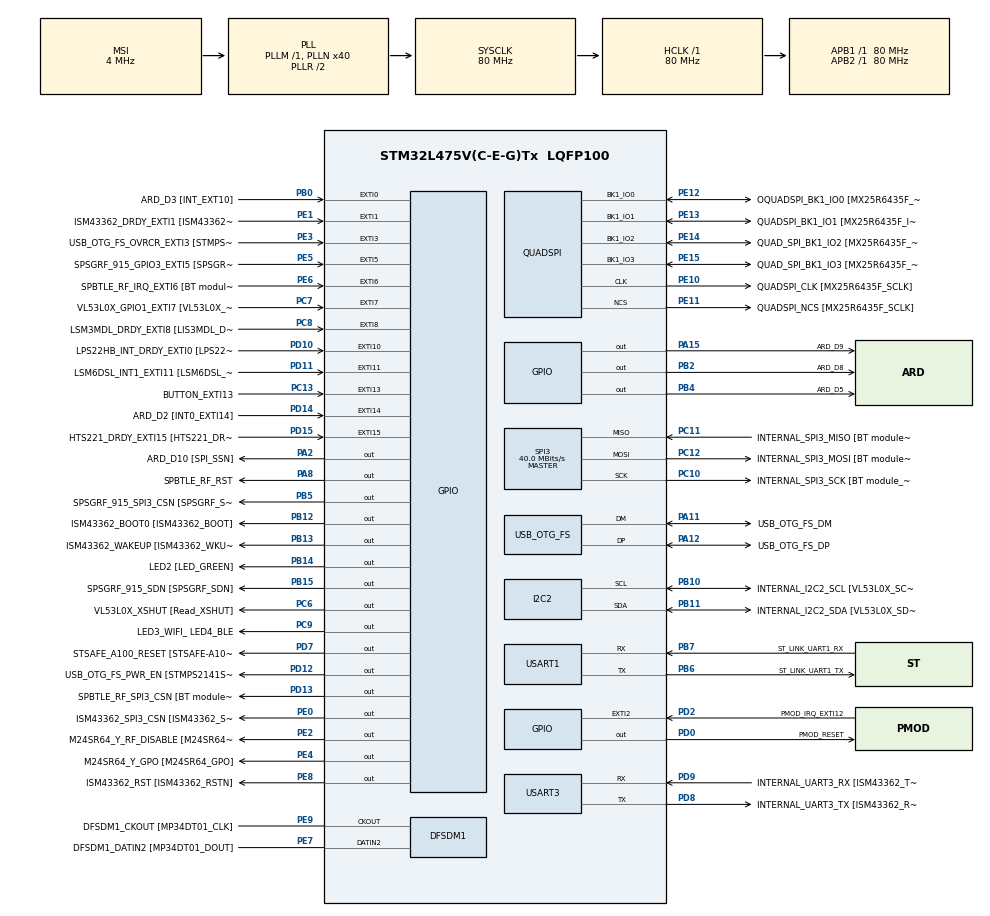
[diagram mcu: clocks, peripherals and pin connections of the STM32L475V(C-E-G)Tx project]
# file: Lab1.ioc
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FREERTOS.BinarySemaphores01=myBinarySem01,Dynamic,NULL,Available;myBinarySem02,Dynamic,NULL,Available
FREERTOS.Mutexes01=myMutex01,Dynamic,NULL,Available
FREERTOS.Tasks01=defaultTask,24,128,StartDefaultTask,Default,NULL,Dynamic,NULL,NULL;myTask02,40,128,StartTask02,Default,NULL,Dynamic,NULL,NULL
I2C2.Timing=0x10D19CE4
Mcu.Family=STM32L4
Mcu.Name=STM32L475V(C-E-G)Tx
Mcu.Package=LQFP100
NVIC.EXTI15_10_IRQn=true\:5\:0\:false\:false\:true\:true\:true\:true\:true
NVIC.EXTI9_5_IRQn=true\:5\:0\:false\:false\:true\:true\:true\:true\:true
NVIC.PriorityGroup=NVIC_PRIORITYGROUP_4
NVIC.TIM6_DAC_IRQn=true\:5\:0\:false\:false\:true\:true\:true\:true\:true
PA0.GPIO_Label=ARD_D1 [UART4_TX]
PA0.Signal=UART4_TX
PA1.GPIO_Label=ARD_D0 [UART4_RX]
PA1.Signal=UART4_RX
PA10.GPIO_Label=USB_OTG_FS_ID
PA10.Signal=USB_OTG_FS_ID
PA11.GPIO_Label=USB_OTG_FS_DM
PA11.Mode=Device_Only
PA11.Signal=USB_OTG_FS_DM
PA12.GPIO_Label=USB_OTG_FS_DP
PA12.Mode=Device_Only
PA12.Signal=USB_OTG_FS_DP
PA13\ (JTMS-SWDIO).GPIO_Label=SYS_JTMS_SWDIO
PA13\ (JTMS-SWDIO).Mode=Serial_Wire
PA13\ (JTMS-SWDIO).Signal=SYS_JTMS-SWDIO
PA14\ (JTCK-SWCLK).GPIO_Label=SYS_JTCK_SWCLK
PA14\ (JTCK-SWCLK).Mode=Serial_Wire
PA14\ (JTCK-SWCLK).Signal=SYS_JTCK-SWCLK
PA15\ (JTDI).GPIO_Label=ARD_D9
PA15\ (JTDI).Signal=GPIO_Output
PA2.GPIO_Label=ARD_D10 [SPI_SSN]
PA2.Signal=GPIO_Output
PA3.GPIO_Label=ARD_D4
PA3.Signal=S_TIM2_CH4
PA4.GPIO_Label=ARD_D7
PA4.Signal=ADCx_IN9
PA5.GPIO_Label=ARD_D13 [SPI1_SCK]
PA5.Signal=SPI1_SCK
PA6.GPIO_Label=ARD_D12 [SPI1_MISO]
PA6.Signal=SPI1_MISO
PA7.GPIO_Label=ARD_D11 [SPI1_MOSI]
PA7.Signal=SPI1_MOSI
PA8.GPIO_Label=SPBTLE_RF_RST
PA8.Signal=GPIO_Output
PA9.GPIO_Label=USB_OTG_FS_VBUS [STMPS2141STR_OUT]
PA9.Signal=USB_OTG_FS_VBUS
PB0.GPIO_Label=ARD_D3 [INT_EXT10]
PB0.Signal=GPXTI0
PB1.GPIO_Label=ARD_D6 [ADC1_IN6]
PB1.Signal=ADCx_IN16
PB10.GPIO_Label=INTERNAL_I2C2_SCL [VL53L0X_SCL]
PB10.GPIO_Pu=GPIO_PULLUP
PB10.Mode=I2C
PB10.Signal=I2C2_SCL
PB11.GPIO_Label=INTERNAL_I2C2_SDA [VL53L0X_SDA]
PB11.GPIO_Pu=GPIO_PULLUP
PB11.Mode=I2C
PB11.Signal=I2C2_SDA
PB12.GPIO_Label=ISM43362_BOOT0 [ISM43362_BOOT]
PB12.Signal=GPIO_Output
PB13.GPIO_Label=ISM43362_WAKEUP [ISM43362_WKUP]
PB13.Signal=GPIO_Output
PB14.GPIO_Label=LED2 [LED_GREEN]
PB14.Signal=GPIO_Output
PB15.GPIO_Label=SPSGRF_915_SDN [SPSGRF_SDN]
PB15.Signal=GPIO_Output
PB2.GPIO_Label=ARD_D8
PB2.Signal=GPIO_Output
PB3\ (JTDO-TRACESWO).GPIO_Label=SYS_JTD0_SWO
PB3\ (JTDO-TRACESWO).Signal=SYS_JTDO-SWO
PB4\ (NJTRST).GPIO_Label=ARD_D5
PB4\ (NJTRST).Signal=GPIO_Output
PB5.GPIO_Label=SPSGRF_915_SPI3_CSN [SPSGRF_SPI_CS]
PB5.PinState=GPIO_PIN_SET
PB5.Signal=GPIO_Output
PB6.GPIO_Label=ST_LINK_UART1_TX
PB6.Mode=Asynchronous
PB6.Signal=USART1_TX
PB7.GPIO_Label=ST_LINK_UART1_RX
PB7.Mode=Asynchronous
PB7.Signal=USART1_RX
PB8.GPIO_Label=ARD_D15 [I2C1_SCL]
PB8.Signal=I2C1_SCL
PB9.GPIO_Label=ARD_D14 [I2C1_SDA]
PB9.Signal=I2C1_SDA
PC0.GPIO_Label=ARD_A5 [ADC]
PC0.Signal=ADCx_IN1
PC1.GPIO_Label=ARD_A4 [ADC]
PC1.Signal=ADCx_IN2
PC10.GPIO_Label=INTERNAL_SPI3_SCK [BT module_SPI_SCLK] [ISM43362_SCK]
PC10.Mode=Full_Duplex_Master
PC10.Signal=SPI3_SCK
PC11.GPIO_Label=INTERNAL_SPI3_MISO [BT module_SPI_MISO] [ISM43362_MISO]
PC11.Mode=Full_Duplex_Master
PC11.Signal=SPI3_MISO
PC12.GPIO_Label=INTERNAL_SPI3_MOSI [BT module_SPI_MOSI] [ISM43362_MOSI]
PC12.Mode=Full_Duplex_Master
PC12.Signal=SPI3_MOSI
PC13.GPIO_Label=BUTTON_EXTI13
PC13.GPIO_ModeDefaultEXTI=GPIO_MODE_IT_FALLING
PC13.GPIO_PuPd=GPIO_PULLUP
PC13.Signal=GPXTI13
PC14-OSC32_IN\ (PC14).Mode=LSE-External-Oscillator
PC14-OSC32_IN\ (PC14).Signal=RCC_OSC32_IN
PC15-OSC32_OUT\ (PC15).Mode=LSE-External-Oscillator
PC15-OSC32_OUT\ (PC15).Signal=RCC_OSC32_OUT
PC2.GPIO_Label=ARD_A3 [ADC]
PC2.Signal=ADCx_IN3
PC3.GPIO_Label=ARD_A2 [ADC]
PC3.Signal=ADCx_IN4
PC4.GPIO_Label=ARD_A1 [ADC]
PC4.Signal=ADCx_IN13
PC5.GPIO_Label=ARD_A0 [ADC]
PC5.Signal=ADCx_IN14
PC6.GPIO_Label=VL53L0X_XSHUT [Read_XSHUT]
PC6.Signal=GPIO_Output
PC7.GPIO_Label=VL53L0X_GPIO1_EXTI7 [VL53L0X_GPIO1]
PC7.Signal=GPXTI7
PC8.GPIO_Label=LSM3MDL_DRDY_EXTI8 [LIS3MDL_DRDY]
PC8.Signal=GPXTI8
PC9.GPIO_Label=LED3_WIFI_ LED4_BLE
PC9.Signal=GPIO_Output
PD0.GPIO_Label=PMOD_RESET
PD0.Signal=GPIO_Output
PD1.GPIO_Label=PMOD_SPI2_SCK
PD1.Signal=SPI2_SCK
PD10.GPIO_Label=LPS22HB_INT_DRDY_EXTI0 [LPS22HB_INT_DRDY] 
PD10.Signal=GPXTI10
PD11.GPIO_Label=LSM6DSL_INT1_EXTI11 [LSM6DSL_INT1]
PD11.Signal=GPXTI11
PD12.GPIO_Label=USB_OTG_FS_PWR_EN [STMPS2141STR_EN]
PD12.Signal=GPIO_Output
PD13.GPIO_Label=SPBTLE_RF_SPI3_CSN [BT module_SPI_CS]
PD13.PinState=GPIO_PIN_SET
PD13.Signal=GPIO_Output
PD14.GPIO_Label=ARD_D2 [INT0_EXTI14]
PD14.Signal=GPXTI14
PD15.GPIO_Label=HTS221_DRDY_EXTI15 [HTS221_DRDY]
PD15.Signal=GPXTI15
PD2.GPIO_Label=PMOD_IRQ_EXTI12
PD2.Signal=GPXTI2
PD3.GPIO_Label=PMOD_UART2_CTS
PD3.Signal=USART2_CTS
PD4.GPIO_Label=PMOD_UART2_RTS
PD4.Signal=USART2_RTS
PD5.GPIO_Label=PMOD_UART2_TX
PD5.Signal=USART2_TX
PD6.GPIO_Label=PMOD_UART2_RX
PD6.Signal=USART2_RX
PD7.GPIO_Label=STSAFE_A100_RESET [STSAFE-A100_RESET]
PD7.Signal=GPIO_Output
PD8.GPIO_Label=INTERNAL_UART3_TX [ISM43362_RX]
PD8.Mode=Asynchronous
PD8.Signal=USART3_TX
PD9.GPIO_Label=INTERNAL_UART3_RX [ISM43362_TX]
PD9.Mode=Asynchronous
PD9.Signal=USART3_RX
PE0.GPIO_Label=ISM43362_SPI3_CSN [ISM43362_SSN]
PE0.PinState=GPIO_PIN_SET
PE0.Signal=GPIO_Output
PE1.GPIO_Label=ISM43362_DRDY_EXTI1 [ISM43362_DATARDY]
PE1.Signal=GPXTI1
PE10.GPIO_Label=QUADSPI_CLK [MX25R6435F_SCLK]
PE10.Mode=Single Bank
PE10.Signal=QUADSPI_CLK
PE11.GPIO_Label=QUADSPI_NCS [MX25R6435F_SCLK]
PE11.Mode=Single Bank
PE11.Signal=QUADSPI_NCS
PE12.GPIO_Label=OQUADSPI_BK1_IO0 [MX25R6435F_IO0]
PE12.Mode=Single Bank
PE12.Signal=QUADSPI_BK1_IO0
PE13.GPIO_Label=QUADSPI_BK1_IO1 [MX25R6435F_IO1]
PE13.Mode=Single Bank
PE13.Signal=QUADSPI_BK1_IO1
PE14.GPIO_Label=QUAD_SPI_BK1_IO2 [MX25R6435F_IO2]
PE14.Mode=Single Bank
PE14.Signal=QUADSPI_BK1_IO2
PE15.GPIO_Label=QUAD_SPI_BK1_IO3 [MX25R6435F_IO3]
PE15.Mode=Single Bank
PE15.Signal=QUADSPI_BK1_IO3
PE2.GPIO_Label=M24SR64_Y_RF_DISABLE [M24SR64_RFDIS]
PE2.Signal=GPIO_Output
PE3.GPIO_Label=USB_OTG_FS_OVRCR_EXTI3 [STMPS2141STR_FAULT]
PE3.Signal=GPXTI3
PE4.GPIO_Label=M24SR64_Y_GPO [M24SR64_GPO]
PE4.Signal=GPIO_Output
PE5.GPIO_Label=SPSGRF_915_GPIO3_EXTI5 [SPSGRF_GPIO_3]
PE5.Signal=GPXTI5
PE6.GPIO_Label=SPBTLE_RF_IRQ_EXTI6 [BT module_SPI_IRQ]
PE6.Signal=GPXTI6
PE7.GPIO_Label=DFSDM1_DATIN2 [MP34DT01_DOUT]
PE7.Signal=S_DATAIN2DFSDM1
PE8.GPIO_Label=ISM43362_RST [ISM43362_RSTN]
PE8.Signal=GPIO_Output
PE9.GPIO_Label=DFSDM1_CKOUT [MP34DT01_CLK]
PE9.Signal=S_CKOUTDFSDM1
ProjectManager.HeapSize=0x200
ProjectManager.StackSize=0x400
ProjectManager.TargetToolchain=STM32CubeIDE
QUADSPI.ClockPrescaler=2
QUADSPI.FifoThreshold=4
QUADSPI.FlashSize=23
QUADSPI.SampleShifting=QSPI_SAMPLE_SHIFTING_HALFCYCLE
RCC.ADCFreq_Value=48000000
RCC.AHBFreq_Value=80000000
RCC.APB1Freq_Value=80000000
RCC.APB1TimFreq_Value=80000000
RCC.APB2Freq_Value=80000000
RCC.APB2TimFreq_Value=80000000
RCC.CortexFreq_Value=80000000
RCC.HCLKFreq_Value=80000000
RCC.HSE_VALUE=8000000
RCC.HSI_VALUE=16000000
RCC.MSI_VALUE=4000000
RCC.PLLN=40
RCC.PLLSAI1N=24
RCC.SYSCLKFreq_VALUE=80000000
RCC.SYSCLKSource=RCC_SYSCLKSOURCE_PLLCLK
RCC.USBFreq_Value=48000000
RCC.VCOOutputFreq_Value=160000000
SH.ADCx_IN1.0=ADC1_IN1
SH.ADCx_IN13.0=ADC1_IN13
SH.ADCx_IN14.0=ADC1_IN14
SH.ADCx_IN16.0=ADC1_IN16
SH.ADCx_IN2.0=ADC1_IN2
SH.ADCx_IN3.0=ADC1_IN3
SH.ADCx_IN4.0=ADC1_IN4
SH.ADCx_IN9.0=ADC1_IN9
SH.S_CKOUTDFSDM1.0=DFSDM1_CKOUT,CKOUT
SH.S_CKOUTDFSDM1.1=DFSDM1_CKOUT,PDM_SPI_Input_from_ch12_and_Internal_Clock
SH.S_DATAIN2DFSDM1.0=DFSDM1_DATIN2,PDM_SPI_Input_from_ch12_and_Internal_Clock
SH.S_TIM2_CH4.0=TIM2_CH4
SPI3.CalculateBaudRate=40.0 MBits/s
SPI3.Direction=SPI_DIRECTION_2LINES
SPI3.Mode=SPI_MODE_MASTER
SPI3.VirtualType=VM_MASTER
TIM6.AutoReloadPreload=TIM_AUTORELOAD_PRELOAD_ENABLE
TIM6.Period=39999
TIM6.Prescaler=19999
USART1.VirtualMode-Asynchronous=VM_ASYNC
USART3.VirtualMode-Asynchronous=VM_ASYNC
USB_OTG_FS.VirtualMode=Device_Only
VP_FREERTOS_VS_CMSIS_V2.Mode=CMSIS_V2
VP_TIM6_VS_ClockSourceINT.Mode=Enable_Timer
board=B-L475E-IOT01A1

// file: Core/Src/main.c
/* USER CODE BEGIN Header */
/**
  ******************************************************************************
  * @file           : main.c
  * @brief          : Main program body
  ******************************************************************************
  * @attention
  *
  * Copyright (c) 2024 STMicroelectronics.
  * All rights reserved.
  *
  * This software is licensed under terms that can be found in the LICENSE file
  * in the root directory of this software component.
  * If no LICENSE file comes with this software, it is provided AS-IS.
  *
  ******************************************************************************
  */
/* USER CODE END Header */
#include "main.h"
#include "cmsis_os.h"
#include "stdio.h"
#include "string.h"

DFSDM_Channel_HandleTypeDef hdfsdm1_channel1;

I2C_HandleTypeDef hi2c2;

QSPI_HandleTypeDef hqspi;

SPI_HandleTypeDef hspi3;

TIM_HandleTypeDef htim6;

UART_HandleTypeDef huart1;
UART_HandleTypeDef huart3;

PCD_HandleTypeDef hpcd_USB_OTG_FS;

/* Definitions for defaultTask */
osThreadId_t defaultTaskHandle;
const osThreadAttr_t defaultTask_attributes = {
  .name = "defaultTask",
  .stack_size = 128 * 4,
  .priority = (osPriority_t) osPriorityNormal,
};
/* Definitions for myTask02 */
osThreadId_t myTask02Handle;
const osThreadAttr_t myTask02_attributes = {
  .name = "myTask02",
  .stack_size = 128 * 4,
  .priority = (osPriority_t) osPriorityHigh,
};
/* Definitions for myMutex01 */
osMutexId_t myMutex01Handle;
const osMutexAttr_t myMutex01_attributes = {
  .name = "myMutex01"
};
/* Definitions for myBinarySem01 */
osSemaphoreId_t myBinarySem01Handle;
const osSemaphoreAttr_t myBinarySem01_attributes = {
  .name = "myBinarySem01"
};
/* Definitions for myBinarySem02 */
osSemaphoreId_t myBinarySem02Handle;
const osSemaphoreAttr_t myBinarySem02_attributes = {
  .name = "myBinarySem02"
};

void SystemClock_Config(void);
static void MX_GPIO_Init(void);
static void MX_DFSDM1_Init(void);
static void MX_I2C2_Init(void);
static void MX_QUADSPI_Init(void);
static void MX_SPI3_Init(void);
static void MX_USART1_UART_Init(void);
static void MX_USART3_UART_Init(void);
static void MX_USB_OTG_FS_PCD_Init(void);
static void MX_TIM6_Init(void);
void StartDefaultTask(void *argument);
void StartTask02(void *argument);

int main(void)
{

  /* MCU Configuration--------------------------------------------------------*/

  /* Reset of all peripherals, Initializes the Flash interface and the Systick. */
  HAL_Init();

  /* Configure the system clock */
  SystemClock_Config();

  /* Initialize all configured peripherals */
  MX_GPIO_Init();
  MX_DFSDM1_Init();
  MX_I2C2_Init();
  MX_QUADSPI_Init();
  MX_SPI3_Init();
  MX_USART1_UART_Init();
  MX_USART3_UART_Init();
  MX_USB_OTG_FS_PCD_Init();
  MX_TIM6_Init();

  /* Init scheduler */
  osKernelInitialize();
  /* Create the mutex(es) */
  /* creation of myMutex01 */
  myMutex01Handle = osMutexNew(&myMutex01_attributes);

  /* Create the semaphores(s) */
  /* creation of myBinarySem01 */
  myBinarySem01Handle = osSemaphoreNew(1, 0, &myBinarySem01_attributes);

  /* creation of myBinarySem02 */
  myBinarySem02Handle = osSemaphoreNew(1, 0, &myBinarySem02_attributes);

  /* USER CODE BEGIN RTOS_SEMAPHORES */
  /* add semaphores, ... */
//  xBlinkingMutex = xSemaphoreCreateMutex();
//  xButtonSemaphore = xSemaphoreCreateBinary();
//  xTimerSemaphore = xSemaphoreCreateBinary();
  /* USER CODE END RTOS_SEMAPHORES */

  /* Create the thread(s) */
  /* creation of defaultTask */
  defaultTaskHandle = osThreadNew(StartDefaultTask, NULL, &defaultTask_attributes);

  /* creation of myTask02 */
  myTask02Handle = osThreadNew(StartTask02, NULL, &myTask02_attributes);

  /* Start scheduler */
  osKernelStart();

  /* We should never get here as control is now taken by the scheduler */

  /* Infinite loop */
  while (1)
  {

  }
}

void SystemClock_Config(void)
{
  RCC_OscInitTypeDef RCC_OscInitStruct = {0};
  RCC_ClkInitTypeDef RCC_ClkInitStruct = {0};

  /** Configure the main internal regulator output voltage
  */
  if (HAL_PWREx_ControlVoltageScaling(PWR_REGULATOR_VOLTAGE_SCALE1) != HAL_OK)
  {
    Error_Handler();
  }

  /** Configure LSE Drive Capability
  */
  HAL_PWR_EnableBkUpAccess();
  __HAL_RCC_LSEDRIVE_CONFIG(RCC_LSEDRIVE_LOW);

  /** Initializes the RCC Oscillators according to the specified parameters
  * in the RCC_OscInitTypeDef structure.
  */
  RCC_OscInitStruct.OscillatorType = RCC_OSCILLATORTYPE_LSE|RCC_OSCILLATORTYPE_MSI;
  RCC_OscInitStruct.LSEState = RCC_LSE_ON;
  RCC_OscInitStruct.MSIState = RCC_MSI_ON;
  RCC_OscInitStruct.MSICalibrationValue = 0;
  RCC_OscInitStruct.MSIClockRange = RCC_MSIRANGE_6;
  RCC_OscInitStruct.PLL.PLLState = RCC_PLL_ON;
  RCC_OscInitStruct.PLL.PLLSource = RCC_PLLSOURCE_MSI;
  RCC_OscInitStruct.PLL.PLLM = 1;
  RCC_OscInitStruct.PLL.PLLN = 40;
  RCC_OscInitStruct.PLL.PLLP = RCC_PLLP_DIV7;
  RCC_OscInitStruct.PLL.PLLQ = RCC_PLLQ_DIV2;
  RCC_OscInitStruct.PLL.PLLR = RCC_PLLR_DIV2;
  if (HAL_RCC_OscConfig(&RCC_OscInitStruct) != HAL_OK)
  {
    Error_Handler();
  }

  /** Initializes the CPU, AHB and APB buses clocks
  */
  RCC_ClkInitStruct.ClockType = RCC_CLOCKTYPE_HCLK|RCC_CLOCKTYPE_SYSCLK
                              |RCC_CLOCKTYPE_PCLK1|RCC_CLOCKTYPE_PCLK2;
  RCC_ClkInitStruct.SYSCLKSource = RCC_SYSCLKSOURCE_PLLCLK;
  RCC_ClkInitStruct.AHBCLKDivider = RCC_SYSCLK_DIV1;
  RCC_ClkInitStruct.APB1CLKDivider = RCC_HCLK_DIV1;
  RCC_ClkInitStruct.APB2CLKDivider = RCC_HCLK_DIV1;

  if (HAL_RCC_ClockConfig(&RCC_ClkInitStruct, FLASH_LATENCY_4) != HAL_OK)
  {
    Error_Handler();
  }

  /** Enable MSI Auto calibration
  */
  HAL_RCCEx_EnableMSIPLLMode();
}

static void MX_DFSDM1_Init(void)
{

  hdfsdm1_channel1.Instance = DFSDM1_Channel1;
  hdfsdm1_channel1.Init.OutputClock.Activation = ENABLE;
  hdfsdm1_channel1.Init.OutputClock.Selection = DFSDM_CHANNEL_OUTPUT_CLOCK_SYSTEM;
  hdfsdm1_channel1.Init.OutputClock.Divider = 2;
  hdfsdm1_channel1.Init.Input.Multiplexer = DFSDM_CHANNEL_EXTERNAL_INPUTS;
  hdfsdm1_channel1.Init.Input.DataPacking = DFSDM_CHANNEL_STANDARD_MODE;
  hdfsdm1_channel1.Init.Input.Pins = DFSDM_CHANNEL_FOLLOWING_CHANNEL_PINS;
  hdfsdm1_channel1.Init.SerialInterface.Type = DFSDM_CHANNEL_SPI_RISING;
  hdfsdm1_channel1.Init.SerialInterface.SpiClock = DFSDM_CHANNEL_SPI_CLOCK_INTERNAL;
  hdfsdm1_channel1.Init.Awd.FilterOrder = DFSDM_CHANNEL_FASTSINC_ORDER;
  hdfsdm1_channel1.Init.Awd.Oversampling = 1;
  hdfsdm1_channel1.Init.Offset = 0;
  hdfsdm1_channel1.Init.RightBitShift = 0x00;
  if (HAL_DFSDM_ChannelInit(&hdfsdm1_channel1) != HAL_OK)
  {
    Error_Handler();
  }

}

static void MX_I2C2_Init(void)
{

  hi2c2.Instance = I2C2;
  hi2c2.Init.Timing = 0x10D19CE4;
  hi2c2.Init.OwnAddress1 = 0;
  hi2c2.Init.AddressingMode = I2C_ADDRESSINGMODE_7BIT;
  hi2c2.Init.DualAddressMode = I2C_DUALADDRESS_DISABLE;
  hi2c2.Init.OwnAddress2 = 0;
  hi2c2.Init.OwnAddress2Masks = I2C_OA2_NOMASK;
  hi2c2.Init.GeneralCallMode = I2C_GENERALCALL_DISABLE;
  hi2c2.Init.NoStretchMode = I2C_NOSTRETCH_DISABLE;
  if (HAL_I2C_Init(&hi2c2) != HAL_OK)
  {
    Error_Handler();
  }

  /** Configure Analogue filter
  */
  if (HAL_I2CEx_ConfigAnalogFilter(&hi2c2, I2C_ANALOGFILTER_ENABLE) != HAL_OK)
  {
    Error_Handler();
  }

  /** Configure Digital filter
  */
  if (HAL_I2CEx_ConfigDigitalFilter(&hi2c2, 0) != HAL_OK)
  {
    Error_Handler();
  }

}

static void MX_QUADSPI_Init(void)
{

  /* QUADSPI parameter configuration*/
  hqspi.Instance = QUADSPI;
  hqspi.Init.ClockPrescaler = 2;
  hqspi.Init.FifoThreshold = 4;
  hqspi.Init.SampleShifting = QSPI_SAMPLE_SHIFTING_HALFCYCLE;
  hqspi.Init.FlashSize = 23;
  hqspi.Init.ChipSelectHighTime = QSPI_CS_HIGH_TIME_1_CYCLE;
  hqspi.Init.ClockMode = QSPI_CLOCK_MODE_0;
  if (HAL_QSPI_Init(&hqspi) != HAL_OK)
  {
    Error_Handler();
  }

}

static void MX_SPI3_Init(void)
{

  /* SPI3 parameter configuration*/
  hspi3.Instance = SPI3;
  hspi3.Init.Mode = SPI_MODE_MASTER;
  hspi3.Init.Direction = SPI_DIRECTION_2LINES;
  hspi3.Init.DataSize = SPI_DATASIZE_4BIT;
  hspi3.Init.CLKPolarity = SPI_POLARITY_LOW;
  hspi3.Init.CLKPhase = SPI_PHASE_1EDGE;
  hspi3.Init.NSS = SPI_NSS_SOFT;
  hspi3.Init.BaudRatePrescaler = SPI_BAUDRATEPRESCALER_2;
  hspi3.Init.FirstBit = SPI_FIRSTBIT_MSB;
  hspi3.Init.TIMode = SPI_TIMODE_DISABLE;
  hspi3.Init.CRCCalculation = SPI_CRCCALCULATION_DISABLE;
  hspi3.Init.CRCPolynomial = 7;
  hspi3.Init.CRCLength = SPI_CRC_LENGTH_DATASIZE;
  hspi3.Init.NSSPMode = SPI_NSS_PULSE_ENABLE;
  if (HAL_SPI_Init(&hspi3) != HAL_OK)
  {
    Error_Handler();
  }

}

static void MX_TIM6_Init(void)
{

  TIM_MasterConfigTypeDef sMasterConfig = {0};

  htim6.Instance = TIM6;
  htim6.Init.Prescaler = 19999;
  htim6.Init.CounterMode = TIM_COUNTERMODE_UP;
  htim6.Init.Period = 39999;
  htim6.Init.AutoReloadPreload = TIM_AUTORELOAD_PRELOAD_ENABLE;
  if (HAL_TIM_Base_Init(&htim6) != HAL_OK)
  {
    Error_Handler();
  }
  sMasterConfig.MasterOutputTrigger = TIM_TRGO_RESET;
  sMasterConfig.MasterSlaveMode = TIM_MASTERSLAVEMODE_DISABLE;
  if (HAL_TIMEx_MasterConfigSynchronization(&htim6, &sMasterConfig) != HAL_OK)
  {
    Error_Handler();
  }
  /* USER CODE BEGIN TIM6_Init 2 */
  // Start the timer with interrupts
  HAL_TIM_Base_Start_IT(&htim6);
  /* USER CODE END TIM6_Init 2 */

}

static void MX_USART1_UART_Init(void)
{

  huart1.Instance = USART1;
  huart1.Init.BaudRate = 115200;
  huart1.Init.WordLength = UART_WORDLENGTH_8B;
  huart1.Init.StopBits = UART_STOPBITS_1;
  huart1.Init.Parity = UART_PARITY_NONE;
  huart1.Init.Mode = UART_MODE_TX_RX;
  huart1.Init.HwFlowCtl = UART_HWCONTROL_NONE;
  huart1.Init.OverSampling = UART_OVERSAMPLING_16;
  huart1.Init.OneBitSampling = UART_ONE_BIT_SAMPLE_DISABLE;
  huart1.AdvancedInit.AdvFeatureInit = UART_ADVFEATURE_NO_INIT;
  if (HAL_UART_Init(&huart1) != HAL_OK)
  {
    Error_Handler();
  }

}

static void MX_USART3_UART_Init(void)
{

  huart3.Instance = USART3;
  huart3.Init.BaudRate = 115200;
  huart3.Init.WordLength = UART_WORDLENGTH_8B;
  huart3.Init.StopBits = UART_STOPBITS_1;
  huart3.Init.Parity = UART_PARITY_NONE;
  huart3.Init.Mode = UART_MODE_TX_RX;
  huart3.Init.HwFlowCtl = UART_HWCONTROL_NONE;
  huart3.Init.OverSampling = UART_OVERSAMPLING_16;
  huart3.Init.OneBitSampling = UART_ONE_BIT_SAMPLE_DISABLE;
  huart3.AdvancedInit.AdvFeatureInit = UART_ADVFEATURE_NO_INIT;
  if (HAL_UART_Init(&huart3) != HAL_OK)
  {
    Error_Handler();
  }

}

static void MX_USB_OTG_FS_PCD_Init(void)
{

  hpcd_USB_OTG_FS.Instance = USB_OTG_FS;
  hpcd_USB_OTG_FS.Init.dev_endpoints = 6;
  hpcd_USB_OTG_FS.Init.speed = PCD_SPEED_FULL;
  hpcd_USB_OTG_FS.Init.phy_itface = PCD_PHY_EMBEDDED;
  hpcd_USB_OTG_FS.Init.Sof_enable = DISABLE;
  hpcd_USB_OTG_FS.Init.low_power_enable = DISABLE;
  hpcd_USB_OTG_FS.Init.lpm_enable = DISABLE;
  hpcd_USB_OTG_FS.Init.battery_charging_enable = DISABLE;
  hpcd_USB_OTG_FS.Init.use_dedicated_ep1 = DISABLE;
  hpcd_USB_OTG_FS.Init.vbus_sensing_enable = DISABLE;
  if (HAL_PCD_Init(&hpcd_USB_OTG_FS) != HAL_OK)
  {
    Error_Handler();
  }

}

static void MX_GPIO_Init(void)
{
  GPIO_InitTypeDef GPIO_InitStruct = {0};

  /* GPIO Ports Clock Enable */
  __HAL_RCC_GPIOE_CLK_ENABLE();
  __HAL_RCC_GPIOC_CLK_ENABLE();
  __HAL_RCC_GPIOA_CLK_ENABLE();
  __HAL_RCC_GPIOB_CLK_ENABLE();
  __HAL_RCC_GPIOD_CLK_ENABLE();

  /*Configure GPIO pin Output Level */
  HAL_GPIO_WritePin(GPIOE, M24SR64_Y_RF_DISABLE_Pin|M24SR64_Y_GPO_Pin|ISM43362_RST_Pin, GPIO_PIN_RESET);

  /*Configure GPIO pin Output Level */
  HAL_GPIO_WritePin(GPIOA, ARD_D10_Pin|SPBTLE_RF_RST_Pin|ARD_D9_Pin, GPIO_PIN_RESET);

  /*Configure GPIO pin Output Level */
  HAL_GPIO_WritePin(GPIOB, ARD_D8_Pin|ISM43362_BOOT0_Pin|ISM43362_WAKEUP_Pin|LED2_Pin
                          |SPSGRF_915_SDN_Pin|ARD_D5_Pin, GPIO_PIN_RESET);

  /*Configure GPIO pin Output Level */
  HAL_GPIO_WritePin(GPIOD, USB_OTG_FS_PWR_EN_Pin|PMOD_RESET_Pin|STSAFE_A100_RESET_Pin, GPIO_PIN_RESET);

  /*Configure GPIO pin Output Level */
  HAL_GPIO_WritePin(SPBTLE_RF_SPI3_CSN_GPIO_Port, SPBTLE_RF_SPI3_CSN_Pin, GPIO_PIN_SET);

  /*Configure GPIO pin Output Level */
  HAL_GPIO_WritePin(GPIOC, VL53L0X_XSHUT_Pin|LED3_WIFI__LED4_BLE_Pin, GPIO_PIN_RESET);

  /*Configure GPIO pin Output Level */
  HAL_GPIO_WritePin(SPSGRF_915_SPI3_CSN_GPIO_Port, SPSGRF_915_SPI3_CSN_Pin, GPIO_PIN_SET);

  /*Configure GPIO pin Output Level */
  HAL_GPIO_WritePin(ISM43362_SPI3_CSN_GPIO_Port, ISM43362_SPI3_CSN_Pin, GPIO_PIN_SET);

  /*Configure GPIO pins : M24SR64_Y_RF_DISABLE_Pin M24SR64_Y_GPO_Pin ISM43362_RST_Pin ISM43362_SPI3_CSN_Pin */
  GPIO_InitStruct.Pin = M24SR64_Y_RF_DISABLE_Pin|M24SR64_Y_GPO_Pin|ISM43362_RST_Pin|ISM43362_SPI3_CSN_Pin;
  GPIO_InitStruct.Mode = GPIO_MODE_OUTPUT_PP;
  GPIO_InitStruct.Pull = GPIO_NOPULL;
  GPIO_InitStruct.Speed = GPIO_SPEED_FREQ_LOW;
  HAL_GPIO_Init(GPIOE, &GPIO_InitStruct);

  /*Configure GPIO pins : USB_OTG_FS_OVRCR_EXTI3_Pin SPSGRF_915_GPIO3_EXTI5_Pin SPBTLE_RF_IRQ_EXTI6_Pin ISM43362_DRDY_EXTI1_Pin */
  GPIO_InitStruct.Pin = USB_OTG_FS_OVRCR_EXTI3_Pin|SPSGRF_915_GPIO3_EXTI5_Pin|SPBTLE_RF_IRQ_EXTI6_Pin|ISM43362_DRDY_EXTI1_Pin;
  GPIO_InitStruct.Mode = GPIO_MODE_IT_RISING;
  GPIO_InitStruct.Pull = GPIO_NOPULL;
  HAL_GPIO_Init(GPIOE, &GPIO_InitStruct);

  /*Configure GPIO pin : BUTTON_EXTI13_Pin */
  GPIO_InitStruct.Pin = BUTTON_EXTI13_Pin;
  GPIO_InitStruct.Mode = GPIO_MODE_IT_FALLING;
  GPIO_InitStruct.Pull = GPIO_PULLUP;
  HAL_GPIO_Init(BUTTON_EXTI13_GPIO_Port, &GPIO_InitStruct);

  /*Configure GPIO pins : ARD_A5_Pin ARD_A4_Pin ARD_A3_Pin ARD_A2_Pin
                           ARD_A1_Pin ARD_A0_Pin */
  GPIO_InitStruct.Pin = ARD_A5_Pin|ARD_A4_Pin|ARD_A3_Pin|ARD_A2_Pin
                          |ARD_A1_Pin|ARD_A0_Pin;
  GPIO_InitStruct.Mode = GPIO_MODE_ANALOG_ADC_CONTROL;
  GPIO_InitStruct.Pull = GPIO_NOPULL;
  HAL_GPIO_Init(GPIOC, &GPIO_InitStruct);

  /*Configure GPIO pins : ARD_D1_Pin ARD_D0_Pin */
  GPIO_InitStruct.Pin = ARD_D1_Pin|ARD_D0_Pin;
  GPIO_InitStruct.Mode = GPIO_MODE_AF_PP;
  GPIO_InitStruct.Pull = GPIO_NOPULL;
  GPIO_InitStruct.Speed = GPIO_SPEED_FREQ_VERY_HIGH;
  GPIO_InitStruct.Alternate = GPIO_AF8_UART4;
  HAL_GPIO_Init(GPIOA, &GPIO_InitStruct);

  /*Configure GPIO pins : ARD_D10_Pin SPBTLE_RF_RST_Pin ARD_D9_Pin */
  GPIO_InitStruct.Pin = ARD_D10_Pin|SPBTLE_RF_RST_Pin|ARD_D9_Pin;
  GPIO_InitStruct.Mode = GPIO_MODE_OUTPUT_PP;
  GPIO_InitStruct.Pull = GPIO_NOPULL;
  GPIO_InitStruct.Speed = GPIO_SPEED_FREQ_LOW;
  HAL_GPIO_Init(GPIOA, &GPIO_InitStruct);

  /*Configure GPIO pin : ARD_D4_Pin */
  GPIO_InitStruct.Pin = ARD_D4_Pin;
  GPIO_InitStruct.Mode = GPIO_MODE_AF_PP;
  GPIO_InitStruct.Pull = GPIO_NOPULL;
  GPIO_InitStruct.Speed = GPIO_SPEED_FREQ_LOW;
  GPIO_InitStruct.Alternate = GPIO_AF1_TIM2;
  HAL_GPIO_Init(ARD_D4_GPIO_Port, &GPIO_InitStruct);

  /*Configure GPIO pin : ARD_D7_Pin */
  GPIO_InitStruct.Pin = ARD_D7_Pin;
  GPIO_InitStruct.Mode = GPIO_MODE_ANALOG_ADC_CONTROL;
  GPIO_InitStruct.Pull = GPIO_NOPULL;
  HAL_GPIO_Init(ARD_D7_GPIO_Port, &GPIO_InitStruct);

  /*Configure GPIO pins : ARD_D13_Pin ARD_D12_Pin ARD_D11_Pin */
  GPIO_InitStruct.Pin = ARD_D13_Pin|ARD_D12_Pin|ARD_D11_Pin;
  GPIO_InitStruct.Mode = GPIO_MODE_AF_PP;
  GPIO_InitStruct.Pull = GPIO_NOPULL;
  GPIO_InitStruct.Speed = GPIO_SPEED_FREQ_VERY_HIGH;
  GPIO_InitStruct.Alternate = GPIO_AF5_SPI1;
  HAL_GPIO_Init(GPIOA, &GPIO_InitStruct);

  /*Configure GPIO pin : ARD_D3_Pin */
  GPIO_InitStruct.Pin = ARD_D3_Pin;
  GPIO_InitStruct.Mode = GPIO_MODE_IT_RISING;
  GPIO_InitStruct.Pull = GPIO_NOPULL;
  HAL_GPIO_Init(ARD_D3_GPIO_Port, &GPIO_InitStruct);

  /*Configure GPIO pin : ARD_D6_Pin */
  GPIO_InitStruct.Pin = ARD_D6_Pin;
  GPIO_InitStruct.Mode = GPIO_MODE_ANALOG_ADC_CONTROL;
  GPIO_InitStruct.Pull = GPIO_NOPULL;
  HAL_GPIO_Init(ARD_D6_GPIO_Port, &GPIO_InitStruct);

  /*Configure GPIO pins : ARD_D8_Pin ISM43362_BOOT0_Pin ISM43362_WAKEUP_Pin LED2_Pin
                           SPSGRF_915_SDN_Pin ARD_D5_Pin SPSGRF_915_SPI3_CSN_Pin */
  GPIO_InitStruct.Pin = ARD_D8_Pin|ISM43362_BOOT0_Pin|ISM43362_WAKEUP_Pin|LED2_Pin
                          |SPSGRF_915_SDN_Pin|ARD_D5_Pin|SPSGRF_915_SPI3_CSN_Pin;
  GPIO_InitStruct.Mode = GPIO_MODE_OUTPUT_PP;
  GPIO_InitStruct.Pull = GPIO_NOPULL;
  GPIO_InitStruct.Speed = GPIO_SPEED_FREQ_LOW;
  HAL_GPIO_Init(GPIOB, &GPIO_InitStruct);

  /*Configure GPIO pins : LPS22HB_INT_DRDY_EXTI0_Pin LSM6DSL_INT1_EXTI11_Pin ARD_D2_Pin HTS221_DRDY_EXTI15_Pin
                           PMOD_IRQ_EXTI12_Pin */
  GPIO_InitStruct.Pin = LPS22HB_INT_DRDY_EXTI0_Pin|LSM6DSL_INT1_EXTI11_Pin|ARD_D2_Pin|HTS221_DRDY_EXTI15_Pin
                          |PMOD_IRQ_EXTI12_Pin;
  GPIO_InitStruct.Mode = GPIO_MODE_IT_RISING;
  GPIO_InitStruct.Pull = GPIO_NOPULL;
  HAL_GPIO_Init(GPIOD, &GPIO_InitStruct);

  /*Configure GPIO pins : USB_OTG_FS_PWR_EN_Pin SPBTLE_RF_SPI3_CSN_Pin PMOD_RESET_Pin STSAFE_A100_RESET_Pin */
  GPIO_InitStruct.Pin = USB_OTG_FS_PWR_EN_Pin|SPBTLE_RF_SPI3_CSN_Pin|PMOD_RESET_Pin|STSAFE_A100_RESET_Pin;
  GPIO_InitStruct.Mode = GPIO_MODE_OUTPUT_PP;
  GPIO_InitStruct.Pull = GPIO_NOPULL;
  GPIO_InitStruct.Speed = GPIO_SPEED_FREQ_LOW;
  HAL_GPIO_Init(GPIOD, &GPIO_InitStruct);

  /*Configure GPIO pins : VL53L0X_XSHUT_Pin LED3_WIFI__LED4_BLE_Pin */
  GPIO_InitStruct.Pin = VL53L0X_XSHUT_Pin|LED3_WIFI__LED4_BLE_Pin;
  GPIO_InitStruct.Mode = GPIO_MODE_OUTPUT_PP;
  GPIO_InitStruct.Pull = GPIO_NOPULL;
  GPIO_InitStruct.Speed = GPIO_SPEED_FREQ_LOW;
  HAL_GPIO_Init(GPIOC, &GPIO_InitStruct);

  /*Configure GPIO pins : VL53L0X_GPIO1_EXTI7_Pin LSM3MDL_DRDY_EXTI8_Pin */
  GPIO_InitStruct.Pin = VL53L0X_GPIO1_EXTI7_Pin|LSM3MDL_DRDY_EXTI8_Pin;
  GPIO_InitStruct.Mode = GPIO_MODE_IT_RISING;
  GPIO_InitStruct.Pull = GPIO_NOPULL;
  HAL_GPIO_Init(GPIOC, &GPIO_InitStruct);

  /*Configure GPIO pin : PMOD_SPI2_SCK_Pin */
  GPIO_InitStruct.Pin = PMOD_SPI2_SCK_Pin;
  GPIO_InitStruct.Mode = GPIO_MODE_AF_PP;
  GPIO_InitStruct.Pull = GPIO_NOPULL;
  GPIO_InitStruct.Speed = GPIO_SPEED_FREQ_VERY_HIGH;
  GPIO_InitStruct.Alternate = GPIO_AF5_SPI2;
  HAL_GPIO_Init(PMOD_SPI2_SCK_GPIO_Port, &GPIO_InitStruct);

  /*Configure GPIO pins : PMOD_UART2_CTS_Pin PMOD_UART2_RTS_Pin PMOD_UART2_TX_Pin PMOD_UART2_RX_Pin */
  GPIO_InitStruct.Pin = PMOD_UART2_CTS_Pin|PMOD_UART2_RTS_Pin|PMOD_UART2_TX_Pin|PMOD_UART2_RX_Pin;
  GPIO_InitStruct.Mode = GPIO_MODE_AF_PP;
  GPIO_InitStruct.Pull = GPIO_NOPULL;
  GPIO_InitStruct.Speed = GPIO_SPEED_FREQ_VERY_HIGH;
  GPIO_InitStruct.Alternate = GPIO_AF7_USART2;
  HAL_GPIO_Init(GPIOD, &GPIO_InitStruct);

  /*Configure GPIO pins : ARD_D15_Pin ARD_D14_Pin */
  GPIO_InitStruct.Pin = ARD_D15_Pin|ARD_D14_Pin;
  GPIO_InitStruct.Mode = GPIO_MODE_AF_OD;
  GPIO_InitStruct.Pull = GPIO_NOPULL;
  GPIO_InitStruct.Speed = GPIO_SPEED_FREQ_VERY_HIGH;
  GPIO_InitStruct.Alternate = GPIO_AF4_I2C1;
  HAL_GPIO_Init(GPIOB, &GPIO_InitStruct);

  /* EXTI interrupt init*/
  HAL_NVIC_SetPriority(EXTI9_5_IRQn, 5, 0);
  HAL_NVIC_EnableIRQ(EXTI9_5_IRQn);

  HAL_NVIC_SetPriority(EXTI15_10_IRQn, 5, 0);
  HAL_NVIC_EnableIRQ(EXTI15_10_IRQn);

}

/* USER CODE BEGIN 4 */
void HAL_GPIO_EXTI_Callback(uint16_t GPIO_Pin)
{
	switch (GPIO_Pin)
	{
	case BUTTON_EXTI13_Pin:
		// HAL_GPIO_TogglePin(GPIOB, LED2_Pin);
		osSemaphoreRelease(myBinarySem01Handle);
		break;
	default:
		break;
	}
}

// HAL_TIM_PeriodElapsedCallback function
void HAL_TIM_PeriodElapsedCallback(TIM_HandleTypeDef *htim)
{
    if (htim->Instance == TIM6) // make sure interrupt is triggered by TIM6
    {
        osSemaphoreRelease(myBinarySem02Handle);
    }
}

/* USER CODE END 4 */

void StartDefaultTask(void *argument)
{
  /* USER CODE BEGIN 5 */
  /* Infinite loop */
  for(;;)
  {
	osSemaphoreAcquire(myBinarySem01Handle, osWaitForever);
	if (osMutexAcquire(myMutex01Handle, osWaitForever) == osOK) {
		// keep blinking in 5s with 1Hz frequency
		for (int i = 0; i < 5; i++) {
			HAL_GPIO_WritePin(GPIOB, LED2_Pin, GPIO_PIN_SET);
			osDelay(500);
			HAL_GPIO_WritePin(GPIOB, LED2_Pin, GPIO_PIN_RESET);
			osDelay(500);
		}
		osMutexRelease(myMutex01Handle);
	}
  }
  /* USER CODE END 5 */
}

void StartTask02(void *argument)
{
  /* USER CODE BEGIN StartTask02 */
  /* Infinite loop */
  for(;;)
  {
	  osSemaphoreAcquire(myBinarySem02Handle, osWaitForever);
	  if (osMutexAcquire(myMutex01Handle, osWaitForever) == osOK) {
		  for (int i = 0; i < 20; i++) {
			  //printf("%x\n", i);
			  HAL_GPIO_WritePin(GPIOB, LED2_Pin, GPIO_PIN_SET);
			  osDelay(50);
			  HAL_GPIO_WritePin(GPIOB, LED2_Pin, GPIO_PIN_RESET);
			  osDelay(50);
		  }
	  	  osMutexRelease(myMutex01Handle);
	  }
//	  osDelay(100);
  }
  /* USER CODE END StartTask02 */
}

void Error_Handler(void)
{
  __disable_irq();
  while (1)
  {
  }
}
